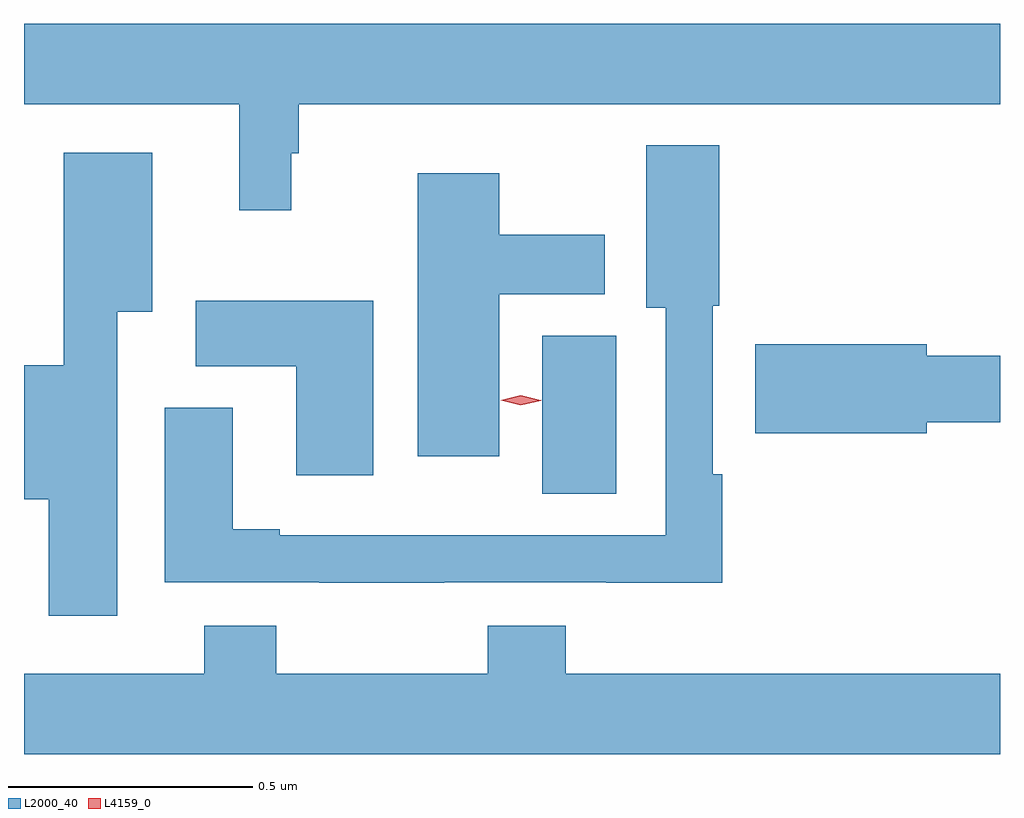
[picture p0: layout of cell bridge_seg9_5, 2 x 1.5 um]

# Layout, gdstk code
import gdstk
lib = gdstk.Library(unit=1e-6, precision=1e-09)
def R(c, l, rs):  # rectangles x0, y0, x1, y1
    for r in rs: c.add(gdstk.rectangle(r[:2], r[2:], *l))
def P(c, l, *ps):  # polygons
    for p in ps: c.add(gdstk.Polygon(p, *l))
L2000_40 = (2000, 40)
L4159_0 = (4159, 0)

bridge_seg9_5 = lib.new_cell('bridge_seg9_5')
R(bridge_seg9_5, L2000_40, [(1044.26,1230.253,1044.412,1230.577)])
P(bridge_seg9_5, L2000_40, [(1043.746,1230.951),(1043.761,1230.951),(1043.761,1231.052),(1045.198,1231.052),(1045.198,1231.216),(1043.198,1231.216),(1043.198,1231.052),(1043.639,1231.052),(1043.639,1230.834),(1043.746,1230.834)],
  [(1044.059,1230.072),(1044.391,1230.072),(1044.391,1230.071),(1044.629,1230.071),(1044.629,1230.293),(1044.609,1230.293),(1044.609,1230.639),(1044.623,1230.639),(1044.623,1230.967),(1044.473,1230.967),(1044.473,1230.635),(1044.513,1230.635),(1044.513,1230.168),(1043.722,1230.168),(1043.722,1230.181),(1043.626,1230.181),(1043.626,1230.43),(1043.486,1230.43),(1043.486,1230.072),(1043.803,1230.072),(1043.803,1230.071),(1044.059,1230.071)],
  [(1043.389,1230.626),(1043.461,1230.626),(1043.461,1230.952),(1043.279,1230.952),(1043.279,1230.517),(1043.198,1230.517),(1043.198,1230.242),(1043.249,1230.242),(1043.249,1230.003),(1043.389,1230.003)],
  [(1044.172,1230.662),(1044.388,1230.662),(1044.388,1230.784),(1044.172,1230.784),(1044.172,1230.91),(1044.005,1230.91),(1044.005,1230.33),(1044.172,1230.33)],
  [(1043.914,1230.649),(1043.55,1230.649),(1043.55,1230.515),(1043.756,1230.515),(1043.756,1230.291),(1043.914,1230.291)],
  [(1045.048,1230.4),(1045.198,1230.4),(1045.198,1230.536),(1045.048,1230.536),(1045.048,1230.56),(1044.696,1230.56),(1044.696,1230.377),(1045.048,1230.377)],
  [(1045.198,1229.884),(1044.308,1229.884),(1044.308,1229.983),(1044.148,1229.983),(1044.148,1229.884),(1043.715,1229.884),(1043.715,1229.983),(1043.567,1229.983),(1043.567,1229.884),(1043.198,1229.884),(1043.198,1229.72),(1045.198,1229.72)])
P(bridge_seg9_5, L4159_0, [(1044.216,1230.435),(1044.175,1230.445),(1044.175,1230.445),(1044.175,1230.445),(1044.216,1230.455),(1044.257,1230.445),(1044.258,1230.445),(1044.257,1230.444)])

lib.write_gds('bridge_seg9_5.gds')
